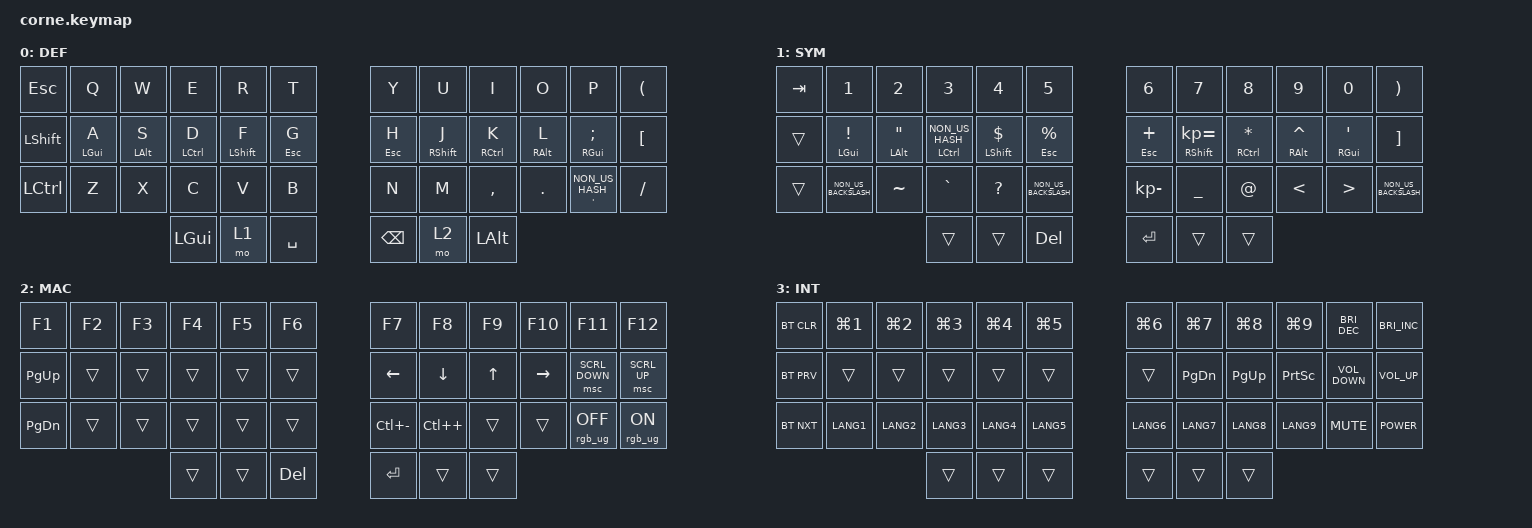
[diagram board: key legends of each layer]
/*
 * Copyright (c) 2020 The ZMK Contributors
 *
 * SPDX-License-Identifier: MIT
 */

#include <behaviors.dtsi>
#include <dt-bindings/zmk/bt.h>
#include <dt-bindings/zmk/keys.h>
#include <dt-bindings/zmk/pointing.h>
#include <dt-bindings/zmk/rgb.h>

/ {
    conditional_layers {
        compatible = "zmk,conditional-layers";

        tri_layer {
            if-layers = <1 2>;
            then-layer = <3>;
        };
    };

    keymap {
        compatible = "zmk,keymap";

        LT1 {
            // -----------------------------------------------------------------------------------------
            // |  TAB |  Q  |  W  |  E  |  R  |  T  |   |  Y  |  U   |  I  |  O  |  P  | BKSP |
            // | CTRL |  A  |  S  |  D  |  F  |  G  |   |  H  |  J   |  K  |  L  |  ;  |  '   |
            // | SHFT |  Z  |  X  |  C  |  V  |  B  |   |  N  |  M   |  ,  |  .  |  /  | ESC  |
            //                    | GUI | LWR | SPC |   | ENT | RSE  | ALT |

            bindings = <
&kp ESCAPE        &kp Q           &kp W           &kp E         &kp R             &kp T        &kp Y          &kp U              &kp I         &kp O            &kp P                         &kp LEFT_PARENTHESIS
&kp LEFT_SHIFT    &mt LEFT_GUI A  &mt LEFT_ALT S  &mt LCTRL D   &mt LEFT_SHIFT F  &mt ESC G    &mt ESC H      &mt RIGHT_SHIFT J  &mt RCTRL K   &mt RIGHT_ALT L  &mt RIGHT_GUI SEMICOLON       &kp LEFT_BRACKET
&kp LEFT_CONTROL  &kp Z           &kp X           &kp C         &kp V             &kp B        &kp N          &kp M              &kp COMMA     &kp DOT          &mt SINGLE_QUOTE NON_US_HASH  &kp SLASH
                                                  &kp LEFT_GUI  &mo 1             &kp SPACE    &kp BACKSPACE  &mo 2              &kp LEFT_ALT
            >;

            label = "DEF";
        };

        LT2 {
            // -----------------------------------------------------------------------------------------
            // |  TAB |  1  |  2  |  3  |  4  |  5  |   |  6  |  7  |  8  |  9  |  0  | BKSP |
            // | BTCLR| BT1 | BT2 | BT3 | BT4 | BT5 |   | LFT | DWN |  UP | RGT |     |      |
            // | SHFT |     |     |     |     |     |   |     |     |     |     |     |      |
            //                    | GUI |     | SPC |   | ENT |     | ALT |

            bindings = <
&kp TAB  &kp NUMBER_1              &kp NUMBER_2                &kp NUMBER_3           &kp NUMBER_4           &kp N5                  &kp NUMBER_6  &kp N7                    &kp N8           &kp N9               &kp N0                      &kp RIGHT_PARENTHESIS
&trans   &mt LEFT_GUI EXCLAMATION  &mt LEFT_ALT DOUBLE_QUOTES  &mt LCTRL NON_US_HASH  &mt LEFT_SHIFT DOLLAR  &mt ESC PERCENT         &mt ESC PLUS  &mt RIGHT_SHIFT KP_EQUAL  &mt RCTRL ASTRK  &mt RIGHT_ALT CARET  &mt RIGHT_GUI SINGLE_QUOTE  &kp RIGHT_BRACKET
&trans   &kp NON_US_BACKSLASH      &kp TILDE                   &kp GRAVE              &kp QUESTION           &kp NON_US_BACKSLASH    &kp KP_MINUS  &kp UNDER                 &kp AT           &kp LESS_THAN        &kp GREATER_THAN            &kp NON_US_BACKSLASH
                                                               &trans                 &trans                 &kp DELETE              &kp ENTER     &trans                    &trans
            >;

            label = "SYM";
        };

        LT3 {
            // -----------------------------------------------------------------------------------------
            // |  TAB |  !  |  @  |  #  |  $  |  %  |   |  ^  |  &  |  *  |  (  |  )  | BKSP |
            // | CTRL |     |     |     |     |     |   |  -  |  =  |  [  |  ]  |  \  |  `   |
            // | SHFT |     |     |     |     |     |   |  _  |  +  |  {  |  }  | "|" |  ~   |
            //                    | GUI |     | SPC |   | ENT |     | ALT |

            bindings = <
&kp F1         &kp F2  &kp F3  &kp F4  &kp F5  &kp F6        &kp F7          &kp F8          &kp F9        &kp F10          &kp F11          &kp F12
&kp PAGE_UP    &trans  &trans  &trans  &trans  &trans        &kp LEFT_ARROW  &kp DOWN_ARROW  &kp UP_ARROW  &kp RIGHT_ARROW  &msc SCRL_DOWN   &msc SCRL_UP
&kp PAGE_DOWN  &trans  &trans  &trans  &trans  &trans        &kp LC(MINUS)   &kp LC(PLUS)    &trans        &trans           &rgb_ug RGB_OFF  &rgb_ug RGB_ON
                               &trans  &trans  &kp DELETE    &kp RETURN      &trans          &trans
            >;

            label = "MAC";
        };

        LT4 {
            bindings = <
&bt BT_CLR  &kp LG(NUMBER_1)  &kp LG(NUMBER_2)  &kp LG(NUMBER_3)  &kp LG(NUMBER_4)  &kp LG(N5)    &kp LG(NUMBER_6)  &kp LG(N7)     &kp LG(N8)   &kp LG(N9)       &kp C_BRIGHTNESS_DEC  &kp C_BRIGHTNESS_INC
&bt BT_PRV  &trans            &trans            &trans            &trans            &trans        &trans            &kp PAGE_DOWN  &kp PAGE_UP  &kp PRINTSCREEN  &kp C_VOLUME_DOWN     &kp C_VOLUME_UP
&bt BT_NXT  &kp LANG1         &kp LANG2         &kp LANG3         &kp LANG4         &kp LANG5     &kp LANG6         &kp LANG7      &kp LANG8    &kp LANG9        &kp C_MUTE            &kp C_POWER
                                                &trans            &trans            &trans        &trans            &trans         &trans
            >;

            label = "INT";
        };
    };
};
